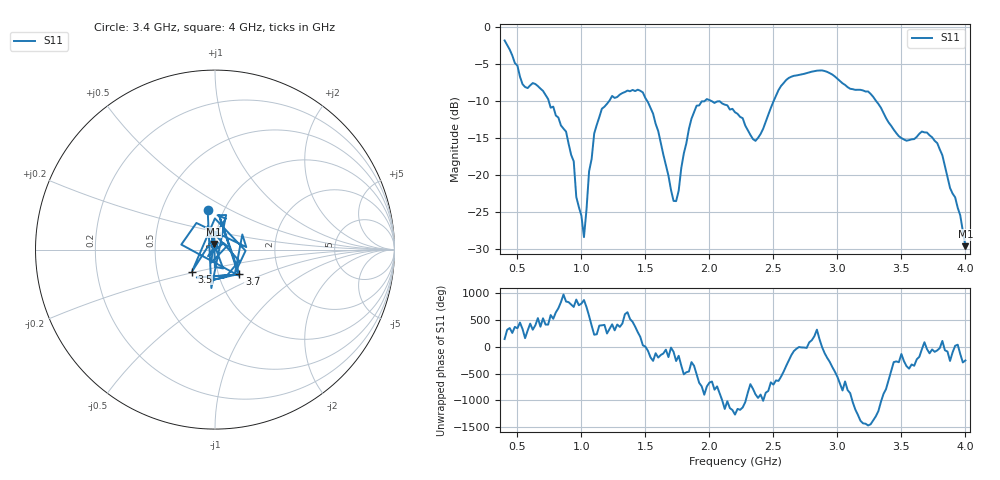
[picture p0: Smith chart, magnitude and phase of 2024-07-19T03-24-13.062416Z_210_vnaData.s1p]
!Created with skrf (http://scikit-rf.org).
# Hz S RI R 50.0
!freq ReS11 ImS11
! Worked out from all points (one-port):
!   181 points, 400 MHz to 4 GHz, reference 50 ohm
!   lowest |S11| = -29.7 dB at 4 GHz (marker M1), VSWR 1.07, Z = 49.1 + j3.14 ohm
!   |S11| at or under -10 dB: 744.7 MHz to 1.217 GHz (472 MHz wide, 48.1 % of centre); 2.016 GHz to 2.502 GHz (485.6 MHz wide, 21.5 % of centre); 3.303 GHz to end of sweep (the widest 3 of 4)
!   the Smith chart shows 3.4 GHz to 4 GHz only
!   S11 on the Smith chart (normalised r, x): 3.4 GHz: 0.84, +0.39; 3.5 GHz: 0.75, -0.19; 3.7 GHz: 1.26, -0.36; 4 GHz: 0.98, +0.06
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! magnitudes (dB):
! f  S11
! 400 MHz  -1.8
! 540 MHz  -7.7
! 700 MHz  -8.6
! 860 MHz  -13.7
! 940 MHz  -18.2
! 960 MHz  -23.0
! 1.02 GHz  -28.4
! 1.06 GHz  -19.5
! 1.1 GHz  -14.4
! 1.16 GHz  -11.0
! 1.3 GHz  -9.1
! 1.48 GHz  -8.8
! 1.6 GHz  -14.1
! 1.72 GHz  -23.5
! 1.76 GHz  -22.2
! 1.84 GHz  -13.8
! 1.9 GHz  -10.6
! 2.2 GHz  -11.5
! 2.36 GHz  -15.4
! 2.66 GHz  -6.6
! 3.1 GHz  -8.3
! 3.24 GHz  -8.7
! 3.4 GHz  -12.9
! 3.5 GHz  -15.0
! 3.56 GHz  -15.3
! 3.7 GHz  -14.3
! 3.82 GHz  -17.3
! 4 GHz  -29.7
